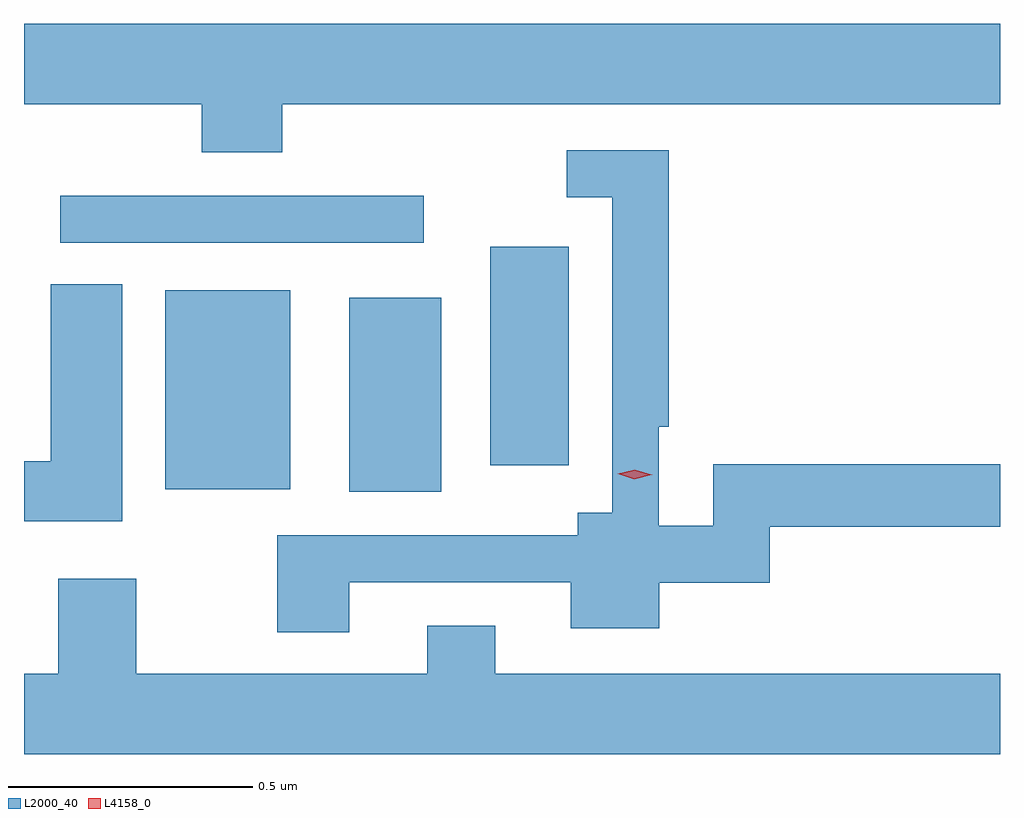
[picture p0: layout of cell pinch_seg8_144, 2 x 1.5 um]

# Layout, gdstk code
import gdstk
lib = gdstk.Library(unit=1e-6, precision=1e-09)
def R(c, l, rs):  # rectangles x0, y0, x1, y1
    for r in rs: c.add(gdstk.rectangle(r[:2], r[2:], *l))
def P(c, l, *ps):  # polygons
    for p in ps: c.add(gdstk.Polygon(p, *l))
L2000_40 = (2000, 40)
L4158_0 = (4158, 0)

pinch_seg8_144 = lib.new_cell('pinch_seg8_144')
R(pinch_seg8_144, L2000_40, [(759.812,1159.661,760,1160.059), (759.434,1159.667,759.691,1160.074), (760.1,1159.716,760.261,1160.164), (759.219,1160.172,759.964,1160.268)])
P(pinch_seg8_144, L2000_40, [(759.674,1160.456),(761.145,1160.456),(761.145,1160.62),(759.145,1160.62),(759.145,1160.456),(759.509,1160.456),(759.509,1160.357),(759.674,1160.357)],
  [(759.811,1159.476),(760.265,1159.476),(760.265,1159.382),(760.447,1159.382),(760.447,1159.475),(760.673,1159.475),(760.673,1159.59),(761.145,1159.59),(761.145,1159.718),(760.557,1159.718),(760.557,1159.592),(760.446,1159.592),(760.446,1159.795),(760.466,1159.795),(760.466,1160.361),(760.257,1160.361),(760.257,1160.265),(760.35,1160.265),(760.35,1159.618),(760.28,1159.618),(760.28,1159.572),(759.664,1159.572),(759.664,1159.374),(759.811,1159.374)],
  [(759.346,1160.087),(759.2,1160.087),(759.2,1159.724),(759.145,1159.724),(759.145,1159.601),(759.346,1159.601)],
  [(761.145,1159.288),(760.111,1159.288),(760.111,1159.387),(759.971,1159.387),(759.971,1159.288),(759.375,1159.288),(759.375,1159.483),(759.215,1159.483),(759.215,1159.288),(759.145,1159.288),(759.145,1159.124),(761.145,1159.124)])
P(pinch_seg8_144, L4158_0, [(760.396,1159.687),(760.362,1159.698),(760.362,1159.698),(760.362,1159.698),(760.397,1159.707),(760.431,1159.696),(760.432,1159.696),(760.431,1159.696)])

lib.write_gds('pinch_seg8_144.gds')
